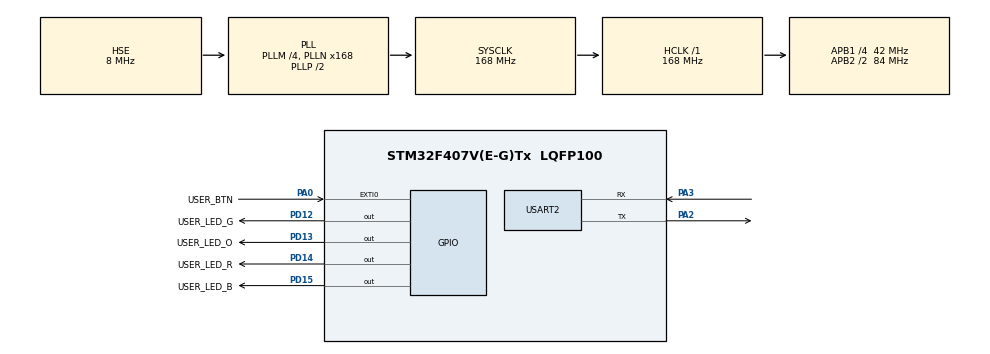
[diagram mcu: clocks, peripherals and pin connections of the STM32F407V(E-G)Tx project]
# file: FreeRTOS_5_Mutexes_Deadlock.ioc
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FREERTOS.Mutexes01=MutexA,Dynamic,NULL;MutexB,Dynamic,NULL
FREERTOS.Tasks01=TaskA,0,128,TaskA_Handle,Default,NULL,Dynamic,NULL,NULL;TaskB,0,128,TaskB_Handle,Default,NULL,Dynamic,NULL,NULL
Mcu.Family=STM32F4
Mcu.Name=STM32F407V(E-G)Tx
Mcu.Package=LQFP100
NVIC.EXTI0_IRQn=true\:5\:0\:true\:false\:false\:false\:true\:false
NVIC.PriorityGroup=NVIC_PRIORITYGROUP_4
NVIC.TIM1_UP_TIM10_IRQn=true\:0\:0\:false\:false\:true\:false\:false\:true
NVIC.TimeBase=TIM1_UP_TIM10_IRQn
NVIC.TimeBaseIP=TIM1
PA0-WKUP.GPIO_Label=USER_BTN
PA0-WKUP.GPIO_PuPd=GPIO_PULLDOWN
PA0-WKUP.Signal=GPXTI0
PA2.Mode=Asynchronous
PA2.Signal=USART2_TX
PA3.Mode=Asynchronous
PA3.Signal=USART2_RX
PD12.GPIO_Label=USER_LED_G
PD12.Signal=GPIO_Output
PD13.GPIO_Label=USER_LED_O
PD13.Signal=GPIO_Output
PD14.GPIO_Label=USER_LED_R
PD14.Signal=GPIO_Output
PD15.GPIO_Label=USER_LED_B
PD15.Signal=GPIO_Output
PH0-OSC_IN.Mode=HSE-External-Oscillator
PH0-OSC_IN.Signal=RCC_OSC_IN
PH1-OSC_OUT.Mode=HSE-External-Oscillator
PH1-OSC_OUT.Signal=RCC_OSC_OUT
ProjectManager.HeapSize=0x200
ProjectManager.StackSize=0x400
ProjectManager.TargetToolchain=STM32CubeIDE
RCC.48MHZClocksFreq_Value=84000000
RCC.AHBFreq_Value=168000000
RCC.APB1CLKDivider=RCC_HCLK_DIV4
RCC.APB1Freq_Value=42000000
RCC.APB1TimFreq_Value=84000000
RCC.APB2CLKDivider=RCC_HCLK_DIV2
RCC.APB2Freq_Value=84000000
RCC.APB2TimFreq_Value=168000000
RCC.CortexFreq_Value=168000000
RCC.HCLKFreq_Value=168000000
RCC.HSE_VALUE=8000000
RCC.HSI_VALUE=16000000
RCC.LSE_VALUE=32768
RCC.PLLM=4
RCC.PLLN=168
RCC.PLLSourceVirtual=RCC_PLLSOURCE_HSE
RCC.SYSCLKFreq_VALUE=168000000
RCC.SYSCLKSource=RCC_SYSCLKSOURCE_PLLCLK
RCC.VCOOutputFreq_Value=336000000
USART2.VirtualMode=VM_ASYNC
VP_FREERTOS_VS_CMSIS_V1.Mode=CMSIS_V1
VP_SYS_VS_tim1.Mode=TIM1
board=custom

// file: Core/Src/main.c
/* USER CODE BEGIN Header */
/**
  ******************************************************************************
  * @file           : main.c
  * @brief          : Main program body
  ******************************************************************************
  * @attention
  *
  * <h2><center>&copy; Copyright (c) 2020 STMicroelectronics.
  * All rights reserved.</center></h2>
  *
  * This software component is licensed by ST under BSD 3-Clause license,
  * the "License"; You may not use this file except in compliance with the
  * License. You may obtain a copy of the License at:
  *                        opensource.org/licenses/BSD-3-Clause
  *
  ******************************************************************************
  */
/* USER CODE END Header */
#include "main.h"
#include "cmsis_os.h"

/* USER CODE BEGIN Includes */

#include "string.h"

/* USER CODE END Includes */

UART_HandleTypeDef huart2;

osThreadId TaskAHandle;
osThreadId TaskBHandle;
osMutexId MutexAHandle;
osMutexId MutexBHandle;

void SystemClock_Config(void);
static void MX_GPIO_Init(void);
static void MX_USART2_UART_Init(void);
void TaskA_Handle(void const * argument);
void TaskB_Handle(void const * argument);

/* USER CODE BEGIN PFP */

void UartPrint(char* message);

/* USER CODE END PFP */

int main(void)
{

  /* MCU Configuration--------------------------------------------------------*/

  /* Reset of all peripherals, Initializes the Flash interface and the Systick. */
  HAL_Init();

  /* Configure the system clock */
  SystemClock_Config();

  /* Initialize all configured peripherals */
  MX_GPIO_Init();
  MX_USART2_UART_Init();

  /* Create the mutex(es) */
  /* definition and creation of MutexA */
  osMutexDef(MutexA);
  MutexAHandle = osMutexCreate(osMutex(MutexA));

  /* definition and creation of MutexB */
  osMutexDef(MutexB);
  MutexBHandle = osMutexCreate(osMutex(MutexB));

  /* Create the thread(s) */
  /* definition and creation of TaskA */
  osThreadDef(TaskA, TaskA_Handle, osPriorityNormal, 0, 128);
  TaskAHandle = osThreadCreate(osThread(TaskA), NULL);

  /* definition and creation of TaskB */
  osThreadDef(TaskB, TaskB_Handle, osPriorityNormal, 0, 128);
  TaskBHandle = osThreadCreate(osThread(TaskB), NULL);

  /* Start scheduler */
  osKernelStart();

  /* We should never get here as control is now taken by the scheduler */
  /* Infinite loop */
  while (1)
  {

  }
}

void SystemClock_Config(void)
{
  RCC_OscInitTypeDef RCC_OscInitStruct = {0};
  RCC_ClkInitTypeDef RCC_ClkInitStruct = {0};

  /** Configure the main internal regulator output voltage
  */
  __HAL_RCC_PWR_CLK_ENABLE();
  __HAL_PWR_VOLTAGESCALING_CONFIG(PWR_REGULATOR_VOLTAGE_SCALE1);
  /** Initializes the RCC Oscillators according to the specified parameters
  * in the RCC_OscInitTypeDef structure.
  */
  RCC_OscInitStruct.OscillatorType = RCC_OSCILLATORTYPE_HSE;
  RCC_OscInitStruct.HSEState = RCC_HSE_ON;
  RCC_OscInitStruct.PLL.PLLState = RCC_PLL_ON;
  RCC_OscInitStruct.PLL.PLLSource = RCC_PLLSOURCE_HSE;
  RCC_OscInitStruct.PLL.PLLM = 4;
  RCC_OscInitStruct.PLL.PLLN = 168;
  RCC_OscInitStruct.PLL.PLLP = RCC_PLLP_DIV2;
  RCC_OscInitStruct.PLL.PLLQ = 4;
  if (HAL_RCC_OscConfig(&RCC_OscInitStruct) != HAL_OK)
  {
    Error_Handler();
  }
  /** Initializes the CPU, AHB and APB buses clocks
  */
  RCC_ClkInitStruct.ClockType = RCC_CLOCKTYPE_HCLK|RCC_CLOCKTYPE_SYSCLK
                              |RCC_CLOCKTYPE_PCLK1|RCC_CLOCKTYPE_PCLK2;
  RCC_ClkInitStruct.SYSCLKSource = RCC_SYSCLKSOURCE_PLLCLK;
  RCC_ClkInitStruct.AHBCLKDivider = RCC_SYSCLK_DIV1;
  RCC_ClkInitStruct.APB1CLKDivider = RCC_HCLK_DIV4;
  RCC_ClkInitStruct.APB2CLKDivider = RCC_HCLK_DIV2;

  if (HAL_RCC_ClockConfig(&RCC_ClkInitStruct, FLASH_LATENCY_5) != HAL_OK)
  {
    Error_Handler();
  }
}

static void MX_USART2_UART_Init(void)
{

  huart2.Instance = USART2;
  huart2.Init.BaudRate = 115200;
  huart2.Init.WordLength = UART_WORDLENGTH_8B;
  huart2.Init.StopBits = UART_STOPBITS_1;
  huart2.Init.Parity = UART_PARITY_NONE;
  huart2.Init.Mode = UART_MODE_TX_RX;
  huart2.Init.HwFlowCtl = UART_HWCONTROL_NONE;
  huart2.Init.OverSampling = UART_OVERSAMPLING_16;
  if (HAL_UART_Init(&huart2) != HAL_OK)
  {
    Error_Handler();
  }

}

static void MX_GPIO_Init(void)
{
  GPIO_InitTypeDef GPIO_InitStruct = {0};

  /* GPIO Ports Clock Enable */
  __HAL_RCC_GPIOH_CLK_ENABLE();
  __HAL_RCC_GPIOA_CLK_ENABLE();
  __HAL_RCC_GPIOD_CLK_ENABLE();

  /*Configure GPIO pin Output Level */
  HAL_GPIO_WritePin(GPIOD, USER_LED_G_Pin|USER_LED_O_Pin|USER_LED_R_Pin|USER_LED_B_Pin, GPIO_PIN_RESET);

  /*Configure GPIO pin : USER_BTN_Pin */
  GPIO_InitStruct.Pin = USER_BTN_Pin;
  GPIO_InitStruct.Mode = GPIO_MODE_IT_RISING;
  GPIO_InitStruct.Pull = GPIO_PULLDOWN;
  HAL_GPIO_Init(USER_BTN_GPIO_Port, &GPIO_InitStruct);

  /*Configure GPIO pins : USER_LED_G_Pin USER_LED_O_Pin USER_LED_R_Pin USER_LED_B_Pin */
  GPIO_InitStruct.Pin = USER_LED_G_Pin|USER_LED_O_Pin|USER_LED_R_Pin|USER_LED_B_Pin;
  GPIO_InitStruct.Mode = GPIO_MODE_OUTPUT_PP;
  GPIO_InitStruct.Pull = GPIO_NOPULL;
  GPIO_InitStruct.Speed = GPIO_SPEED_FREQ_LOW;
  HAL_GPIO_Init(GPIOD, &GPIO_InitStruct);

  /* EXTI interrupt init*/
  HAL_NVIC_SetPriority(EXTI0_IRQn, 5, 0);
  HAL_NVIC_EnableIRQ(EXTI0_IRQn);

}

/* USER CODE BEGIN 4 */

void UartPrint(char* message)
{
	HAL_UART_Transmit(&huart2,( uint8_t* )message, strlen(message), 20);
}

/* USER CODE END 4 */

void TaskA_Handle(void const * argument)
{
  /* USER CODE BEGIN 5 */

  /* Infinite loop */
  for(;;)
  {
	  osMutexWait(MutexAHandle, portMAX_DELAY);
	  UartPrint("Hello from TaskA.\r\n");		// HAL_Lock(); oldugundan burasi islemez...
	  HAL_GPIO_TogglePin(USER_LED_B_GPIO_Port, USER_LED_B_Pin); // LED yakar...

	  osMutexWait(MutexBHandle, portMAX_DELAY); // TaskA, mutexB almak istemeye calisir ve mutexB TaskB tarafindan tutulmaktadir..
	  	  	  	  	  	  	  	  	  	  	  	// Bu yüzden blocked moda gecer.

	  osMutexRelease(MutexAHandle);
	  osMutexRelease(MutexBHandle);
  }
  /* USER CODE END 5 */
}

void TaskB_Handle(void const * argument)
{
  /* USER CODE BEGIN TaskB_Handle */

  /* Infinite loop */
  for(;;)
  {
	  osMutexWait(MutexBHandle, portMAX_DELAY); // TaskB mutexB alir.

	  UartPrint("Hello from TaskB.\r\n"); 		// Veri gonderimine baslar... Fakat oncelikler ayni oldugundan TaskA'ye gecilir.
	  	  	  	  	  	  	  	  	  	  	  	// TaskA blocked moda girdikten sonra veri gonderimi yarida kaldiysa devam eder..

	  HAL_GPIO_TogglePin(USER_LED_G_GPIO_Port, USER_LED_G_Pin); // Led yanar..

	  osMutexWait(MutexAHandle, portMAX_DELAY); // TaskB, MutexA almaya calisir fakat mutexA TaskA tarafindan tutulmaktadir..
	  	  	  	  	  	  	  	  	  	  	  	// TaskB'de blocked moda girer..

	  // 2 gorev de blocked modda oldugundan deadlock islemi gerceklesir..

	  osMutexRelease(MutexBHandle);
	  osMutexRelease(MutexAHandle);
  }
  /* USER CODE END TaskB_Handle */
}

void HAL_TIM_PeriodElapsedCallback(TIM_HandleTypeDef *htim)
{
  if (htim->Instance == TIM1) {
    HAL_IncTick();
  }
}

void Error_Handler(void)
{
}

/************************ (C) COPYRIGHT STMicroelectronics *****END OF FILE****/
